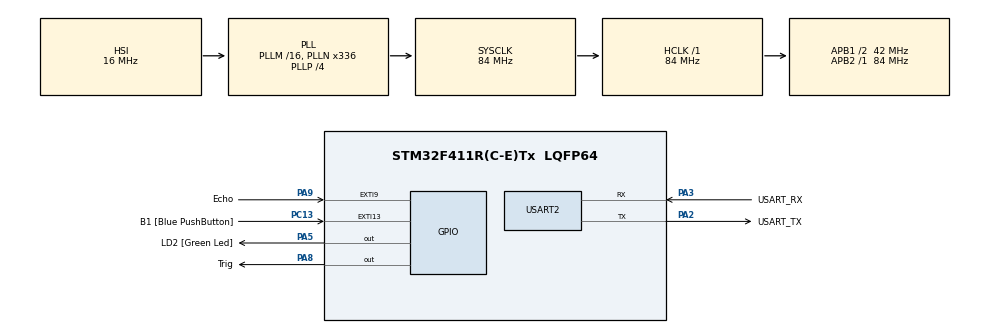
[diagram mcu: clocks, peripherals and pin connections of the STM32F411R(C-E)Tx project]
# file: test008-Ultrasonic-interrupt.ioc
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Mcu.Family=STM32F4
Mcu.Name=STM32F411R(C-E)Tx
Mcu.Package=LQFP64
NVIC.EXTI9_5_IRQn=true\:0\:0\:false\:false\:true\:true\:true\:true
NVIC.PriorityGroup=NVIC_PRIORITYGROUP_0
NVIC.TIM3_IRQn=true\:0\:0\:false\:false\:true\:true\:true\:true
PA13.GPIO_Label=TMS
PA13.Mode=Serial_Wire
PA13.Signal=SYS_JTMS-SWDIO
PA14.GPIO_Label=TCK
PA14.Mode=Serial_Wire
PA14.Signal=SYS_JTCK-SWCLK
PA2.GPIO_Label=USART_TX
PA2.Mode=Asynchronous
PA2.Signal=USART2_TX
PA3.GPIO_Label=USART_RX
PA3.Mode=Asynchronous
PA3.Signal=USART2_RX
PA5.GPIO_Label=LD2 [Green Led]
PA5.Signal=GPIO_Output
PA8.GPIO_Label=Trig
PA8.Signal=GPIO_Output
PA9.GPIO_Label=Echo
PA9.GPIO_ModeDefaultEXTI=GPIO_MODE_IT_RISING_FALLING
PA9.Signal=GPXTI9
PB3.GPIO_Label=SWO
PB3.Signal=SYS_JTDO-SWO
PC13-ANTI_TAMP.GPIO_Label=B1 [Blue PushButton]
PC13-ANTI_TAMP.GPIO_ModeDefaultEXTI=GPIO_MODE_IT_FALLING
PC13-ANTI_TAMP.Signal=GPXTI13
PC14-OSC32_IN.Mode=LSE-External-Oscillator
PC14-OSC32_IN.Signal=RCC_OSC32_IN
PC15-OSC32_OUT.Mode=LSE-External-Oscillator
PC15-OSC32_OUT.Signal=RCC_OSC32_OUT
PH0\ -\ OSC_IN.Mode=HSE-External-Clock-Source
PH0\ -\ OSC_IN.Signal=RCC_OSC_IN
PH1\ -\ OSC_OUT.Mode=HSE-External-Clock-Source
PH1\ -\ OSC_OUT.Signal=RCC_OSC_OUT
ProjectManager.HeapSize=0x200
ProjectManager.StackSize=0x400
ProjectManager.TargetToolchain=STM32CubeIDE
RCC.48MHZClocksFreq_Value=84000000
RCC.AHBFreq_Value=84000000
RCC.APB1CLKDivider=RCC_HCLK_DIV2
RCC.APB1Freq_Value=42000000
RCC.APB1TimFreq_Value=84000000
RCC.APB2Freq_Value=84000000
RCC.APB2TimFreq_Value=84000000
RCC.CortexFreq_Value=84000000
RCC.FLatency-AdvancedSettings=FLASH_LATENCY_2
RCC.HCLKFreq_Value=84000000
RCC.HSE_VALUE=8000000
RCC.HSI_VALUE=16000000
RCC.PLLN=336
RCC.PLLP=RCC_PLLP_DIV4
RCC.SYSCLKFreq_VALUE=84000000
RCC.SYSCLKSource=RCC_SYSCLKSOURCE_PLLCLK
RCC.VCOOutputFreq_Value=336000000
TIM2.Prescaler=84-1
TIM3.Period=10000-1
TIM3.Prescaler=840-1
USART2.VirtualMode=VM_ASYNC
VP_TIM2_VS_ClockSourceINT.Mode=Internal
VP_TIM3_VS_ClockSourceINT.Mode=Internal
board=NUCLEO-F411RE

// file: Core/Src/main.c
/* USER CODE BEGIN Header */
/**
  ******************************************************************************
  * @file           : main.c
  * @brief          : Main program body
  ******************************************************************************
  * @attention
  *
  * Copyright (c) 2025 STMicroelectronics.
  * All rights reserved.
  *
  * This software is licensed under terms that can be found in the LICENSE file
  * in the root directory of this software component.
  * If no LICENSE file comes with this software, it is provided AS-IS.
  *
  ******************************************************************************
  */
/* USER CODE END Header */
#include "main.h"

/* USER CODE BEGIN Includes */
#include "C:\Users\user\source\repos\STM32\myLib\ultrasonic.h"

/* USER CODE END Includes */

TIM_HandleTypeDef htim2;
TIM_HandleTypeDef htim3;

UART_HandleTypeDef huart2;

void SystemClock_Config(void);
static void MX_GPIO_Init(void);
static void MX_USART2_UART_Init(void);
static void MX_TIM2_Init(void);
static void MX_TIM3_Init(void);

/* USER CODE BEGIN 0 */

double distance = 0.0;
void HAL_GPIO_EXTI_Callback(uint16_t GPIO_Pin)
{
	if(GPIO_Pin == Echo_Pin)
	{
		if(HAL_GPIO_ReadPin(Echo_GPIO_Port, Echo_Pin) == 1) // rising edge
		{
			htim2.Instance->CNT = 0;
		}
		else												// falling edge
		{
			distance = (htim2.Instance->CNT) * 0.17;
		}
	}
}

void HAL_TIM_PeriodElapsedCallback(TIM_HandleTypeDef *htim)
{
	Trigger();
}

/* USER CODE END 0 */

int main(void)
{

  /* MCU Configuration--------------------------------------------------------*/

  /* Reset of all peripherals, Initializes the Flash interface and the Systick. */
  HAL_Init();

  /* Configure the system clock */
  SystemClock_Config();

  /* Initialize all configured peripherals */
  MX_GPIO_Init();
  MX_USART2_UART_Init();
  MX_TIM2_Init();
  MX_TIM3_Init();
  /* USER CODE BEGIN 2 */

  ProgramStart("Ultrasonic Test - GPIO Interrupt");
  HAL_TIM_Base_Start(&htim2);
  HAL_TIM_Base_Start_IT(&htim3);

  /* USER CODE END 2 */

  /* Infinite loop */
  while (1)
  {

    /* USER CODE BEGIN 3 */

	printf("Distance : %f\r\n", distance);
	HAL_Delay(500);

  }
  /* USER CODE END 3 */
}

void SystemClock_Config(void)
{
  RCC_OscInitTypeDef RCC_OscInitStruct = {0};
  RCC_ClkInitTypeDef RCC_ClkInitStruct = {0};

  /** Configure the main internal regulator output voltage
  */
  __HAL_RCC_PWR_CLK_ENABLE();
  __HAL_PWR_VOLTAGESCALING_CONFIG(PWR_REGULATOR_VOLTAGE_SCALE1);

  /** Initializes the RCC Oscillators according to the specified parameters
  * in the RCC_OscInitTypeDef structure.
  */
  RCC_OscInitStruct.OscillatorType = RCC_OSCILLATORTYPE_HSI;
  RCC_OscInitStruct.HSIState = RCC_HSI_ON;
  RCC_OscInitStruct.HSICalibrationValue = RCC_HSICALIBRATION_DEFAULT;
  RCC_OscInitStruct.PLL.PLLState = RCC_PLL_ON;
  RCC_OscInitStruct.PLL.PLLSource = RCC_PLLSOURCE_HSI;
  RCC_OscInitStruct.PLL.PLLM = 16;
  RCC_OscInitStruct.PLL.PLLN = 336;
  RCC_OscInitStruct.PLL.PLLP = RCC_PLLP_DIV4;
  RCC_OscInitStruct.PLL.PLLQ = 4;
  if (HAL_RCC_OscConfig(&RCC_OscInitStruct) != HAL_OK)
  {
    Error_Handler();
  }

  /** Initializes the CPU, AHB and APB buses clocks
  */
  RCC_ClkInitStruct.ClockType = RCC_CLOCKTYPE_HCLK|RCC_CLOCKTYPE_SYSCLK
                              |RCC_CLOCKTYPE_PCLK1|RCC_CLOCKTYPE_PCLK2;
  RCC_ClkInitStruct.SYSCLKSource = RCC_SYSCLKSOURCE_PLLCLK;
  RCC_ClkInitStruct.AHBCLKDivider = RCC_SYSCLK_DIV1;
  RCC_ClkInitStruct.APB1CLKDivider = RCC_HCLK_DIV2;
  RCC_ClkInitStruct.APB2CLKDivider = RCC_HCLK_DIV1;

  if (HAL_RCC_ClockConfig(&RCC_ClkInitStruct, FLASH_LATENCY_2) != HAL_OK)
  {
    Error_Handler();
  }
}

static void MX_TIM2_Init(void)
{

  TIM_ClockConfigTypeDef sClockSourceConfig = {0};
  TIM_MasterConfigTypeDef sMasterConfig = {0};

  htim2.Instance = TIM2;
  htim2.Init.Prescaler = 84-1;
  htim2.Init.CounterMode = TIM_COUNTERMODE_UP;
  htim2.Init.Period = 4294967295;
  htim2.Init.ClockDivision = TIM_CLOCKDIVISION_DIV1;
  htim2.Init.AutoReloadPreload = TIM_AUTORELOAD_PRELOAD_DISABLE;
  if (HAL_TIM_Base_Init(&htim2) != HAL_OK)
  {
    Error_Handler();
  }
  sClockSourceConfig.ClockSource = TIM_CLOCKSOURCE_INTERNAL;
  if (HAL_TIM_ConfigClockSource(&htim2, &sClockSourceConfig) != HAL_OK)
  {
    Error_Handler();
  }
  sMasterConfig.MasterOutputTrigger = TIM_TRGO_RESET;
  sMasterConfig.MasterSlaveMode = TIM_MASTERSLAVEMODE_DISABLE;
  if (HAL_TIMEx_MasterConfigSynchronization(&htim2, &sMasterConfig) != HAL_OK)
  {
    Error_Handler();
  }

}

static void MX_TIM3_Init(void)
{

  TIM_ClockConfigTypeDef sClockSourceConfig = {0};
  TIM_MasterConfigTypeDef sMasterConfig = {0};

  htim3.Instance = TIM3;
  htim3.Init.Prescaler = 840-1;
  htim3.Init.CounterMode = TIM_COUNTERMODE_UP;
  htim3.Init.Period = 10000-1;
  htim3.Init.ClockDivision = TIM_CLOCKDIVISION_DIV1;
  htim3.Init.AutoReloadPreload = TIM_AUTORELOAD_PRELOAD_DISABLE;
  if (HAL_TIM_Base_Init(&htim3) != HAL_OK)
  {
    Error_Handler();
  }
  sClockSourceConfig.ClockSource = TIM_CLOCKSOURCE_INTERNAL;
  if (HAL_TIM_ConfigClockSource(&htim3, &sClockSourceConfig) != HAL_OK)
  {
    Error_Handler();
  }
  sMasterConfig.MasterOutputTrigger = TIM_TRGO_RESET;
  sMasterConfig.MasterSlaveMode = TIM_MASTERSLAVEMODE_DISABLE;
  if (HAL_TIMEx_MasterConfigSynchronization(&htim3, &sMasterConfig) != HAL_OK)
  {
    Error_Handler();
  }

}

static void MX_USART2_UART_Init(void)
{

  huart2.Instance = USART2;
  huart2.Init.BaudRate = 115200;
  huart2.Init.WordLength = UART_WORDLENGTH_8B;
  huart2.Init.StopBits = UART_STOPBITS_1;
  huart2.Init.Parity = UART_PARITY_NONE;
  huart2.Init.Mode = UART_MODE_TX_RX;
  huart2.Init.HwFlowCtl = UART_HWCONTROL_NONE;
  huart2.Init.OverSampling = UART_OVERSAMPLING_16;
  if (HAL_UART_Init(&huart2) != HAL_OK)
  {
    Error_Handler();
  }

}

static void MX_GPIO_Init(void)
{
  GPIO_InitTypeDef GPIO_InitStruct = {0};

  /* GPIO Ports Clock Enable */
  __HAL_RCC_GPIOC_CLK_ENABLE();
  __HAL_RCC_GPIOH_CLK_ENABLE();
  __HAL_RCC_GPIOA_CLK_ENABLE();
  __HAL_RCC_GPIOB_CLK_ENABLE();

  /*Configure GPIO pin Output Level */
  HAL_GPIO_WritePin(GPIOA, LD2_Pin|Trig_Pin, GPIO_PIN_RESET);

  /*Configure GPIO pin : B1_Pin */
  GPIO_InitStruct.Pin = B1_Pin;
  GPIO_InitStruct.Mode = GPIO_MODE_IT_FALLING;
  GPIO_InitStruct.Pull = GPIO_NOPULL;
  HAL_GPIO_Init(B1_GPIO_Port, &GPIO_InitStruct);

  /*Configure GPIO pins : LD2_Pin Trig_Pin */
  GPIO_InitStruct.Pin = LD2_Pin|Trig_Pin;
  GPIO_InitStruct.Mode = GPIO_MODE_OUTPUT_PP;
  GPIO_InitStruct.Pull = GPIO_NOPULL;
  GPIO_InitStruct.Speed = GPIO_SPEED_FREQ_LOW;
  HAL_GPIO_Init(GPIOA, &GPIO_InitStruct);

  /*Configure GPIO pin : Echo_Pin */
  GPIO_InitStruct.Pin = Echo_Pin;
  GPIO_InitStruct.Mode = GPIO_MODE_IT_RISING_FALLING;
  GPIO_InitStruct.Pull = GPIO_NOPULL;
  HAL_GPIO_Init(Echo_GPIO_Port, &GPIO_InitStruct);

  /* EXTI interrupt init*/
  HAL_NVIC_SetPriority(EXTI9_5_IRQn, 0, 0);
  HAL_NVIC_EnableIRQ(EXTI9_5_IRQn);

}

void Error_Handler(void)
{
  __disable_irq();
  while (1)
  {
  }
}
